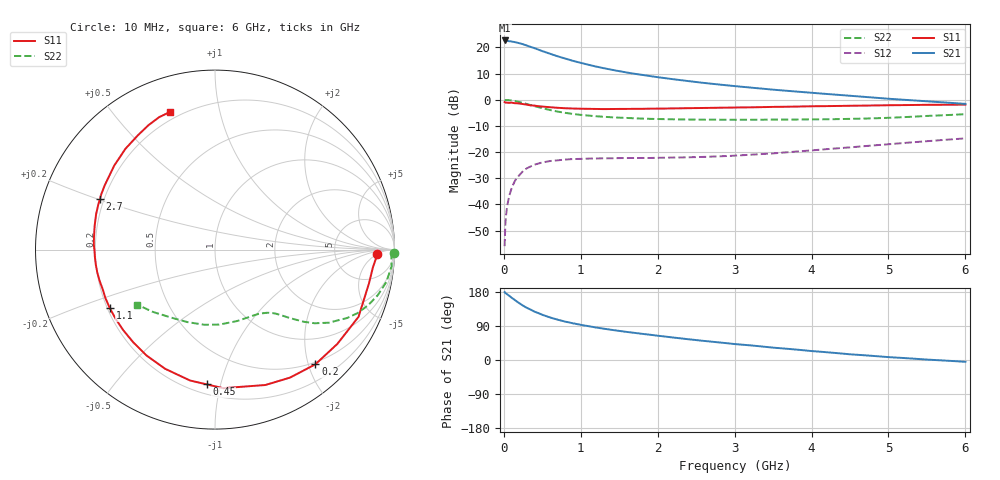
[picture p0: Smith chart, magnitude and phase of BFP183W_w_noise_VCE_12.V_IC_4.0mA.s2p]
! (c) 2017  Infineon Technologies AG, Munich
! Infineon Technologies  Discrete & RF Semiconductors
! BFP183W
! VCE =  12. V,  IC =  4.0 mA
! Common Emitter S-Parameters:  Jan 2017
# GHz  S  MA  R  50
!  f  S11  S21  S12  S22
! GHz  MAG  ANG  MAG  ANG  MAG  ANG  MAG  ANG
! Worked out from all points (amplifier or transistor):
!   77 points, 10 MHz to 6 GHz, reference 50 ohm
!   highest |S21| = 22.7 dB at 10 MHz (marker M1)
!   |S21| within 3 dB of that: start of sweep to 403.2 MHz
!   unconditionally stable (mu >= 1): 2.414 GHz to 4.383 GHz
!   at 130 MHz: K = 0.08, MSG = 27.0 dB, |S12| = -31.9 dB
!   at 2.2 GHz: K = 0.95, MSG = 15.0 dB, |S12| = -22.1 dB
!   at 6 GHz: K = 0.78, MSG = 6.6 dB, |S12| = -14.7 dB
!   lowest NFmin = 0.73 dB at 450 MHz
!   S11 on the Smith chart (normalised r, x): 10 MHz: 18, -5; 200 MHz: 0.46, -2.12; 450 MHz: 0.26, -0.90; 1.1 GHz: 0.21, -0.25; 2.7 GHz: 0.18, +0.20; 6 GHz: 0.16, +0.72
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0.01  0.9051 -1.7  13.57 179.2  0.0016 85.7  0.9967 -1.1
0.02  0.8853 -6.4  13.43 176.8  0.0043 82.9  0.9836 -2.2
0.06  0.8757 -15.0  13.19 170.8  0.0124 79.1  0.9843 -6.4
0.12  0.8692 -30.0  12.79 161.6  0.0237 73.3  0.9585 -12.7
0.2  0.8493 -48.8  12.04 150.0  0.0361 64.8  0.9075 -20.0
0.25  0.8267 -59.6  11.48 143.4  0.0435 58.6  0.8696 -24.0
0.3  0.8049 -69.6  10.83 137.6  0.0492 54.0  0.8284 -27.4
0.4  0.7735 -86.6  9.646 127.5  0.0578 46.7  0.754 -32.7
0.45  0.7522 -93.6  9.053 123.7  0.0606 43.7  0.7217 -34.5
0.5  0.7425 -100.8  8.506 119.3  0.0635 41.0  0.6901 -36.5
0.6  0.7199 -112.7  7.574 112.3  0.0675 36.8  0.6374 -39.1
0.7  0.7027 -122.8  6.755 106.4  0.0698 33.4  0.5942 -41.0
0.9  0.6804 -138.7  5.529 96.8  0.0738 28.8  0.5353 -43.9
1.1  0.6709 -150.8  4.66 89.3  0.0752 26.5  0.4989 -46.0
1.3  0.6635 -160.6  4.003 82.6  0.0762 25.4  0.4733 -48.3
1.6  0.6692 -172.6  3.312 74.0  0.0771 24.9  0.4494 -51.8
2.1  0.68 171.4  2.583 61.8  0.0783 27.9  0.4258 -59.3
2.7  0.7005 156.3  2.024 48.4  0.0821 33.4  0.4166 -70.6
3.1  0.7136 147.8  1.768 40.4  0.0873 37.2  0.4146 -78.5
4.1  0.7536 130.1  1.324 22.1  0.111 44.5  0.4231 -100.8
5.1  0.7883 117.1  1.023 6.4  0.1454 46.0  0.4588 -126.1
6  0.8075 107.9  0.835 -4.8  0.1831 42.7  0.5307 -144.7
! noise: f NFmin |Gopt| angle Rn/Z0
0.45  0.73  0.32  50  0.29
0.9  0.9  0.29  94  0.14
1.9  1.5  0.43  165  0.08
2.4  1.78  0.48  179  0.08
